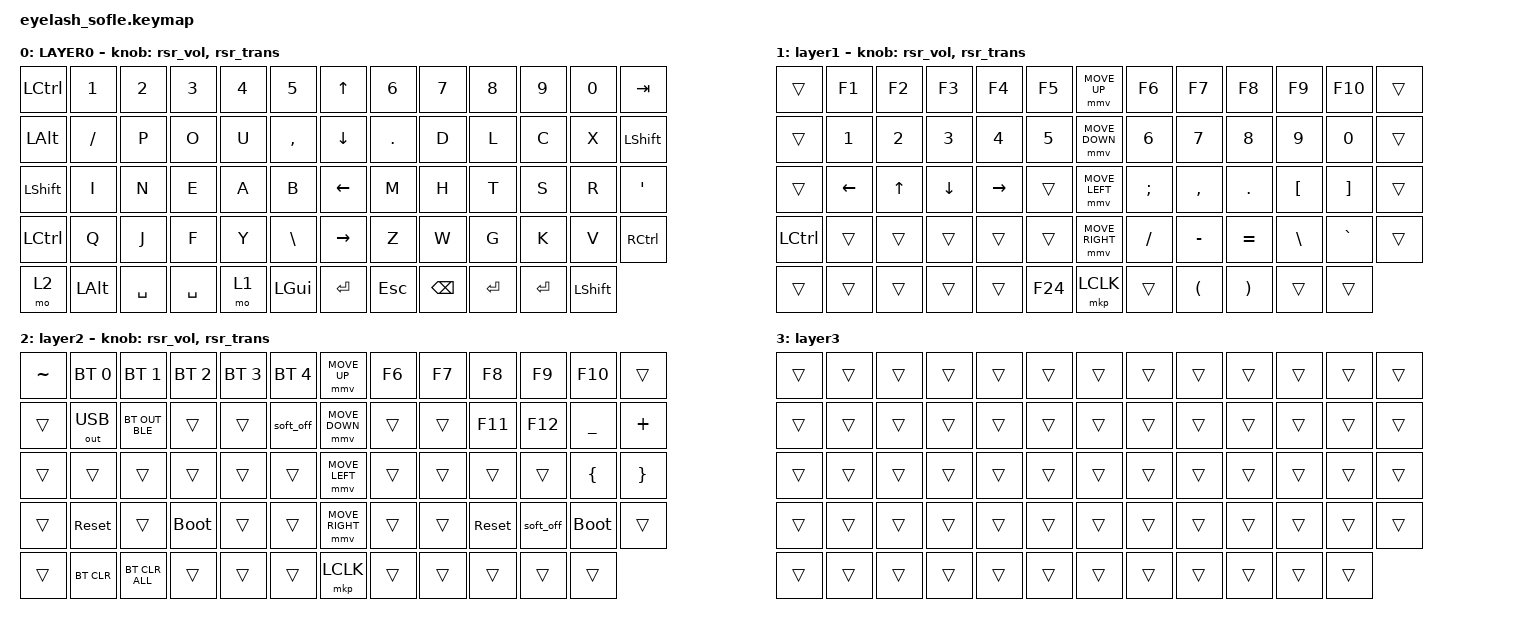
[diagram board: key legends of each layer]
#include <input/processors.dtsi>
#include <zephyr/dt-bindings/input/input-event-codes.h>
#include <behaviors.dtsi>
#include <dt-bindings/zmk/bt.h>
#include <dt-bindings/zmk/keys.h>
#include <dt-bindings/zmk/outputs.h>
#include <dt-bindings/zmk/pointing.h>
#include <dt-bindings/zmk/rgb.h>
#include <behaviors/runtime-sensor-rotate.dtsi>

/ {
    zip_scroll_scaler: zip_scroll_scaler {
        compatible = "zmk,input-processor-scaler";
        #input-processor-cells = <2>;
        type = <INPUT_EV_REL>;
        codes = <INPUT_REL_WHEEL INPUT_REL_HWHEEL>;
        track-remainders;
    };
};

&mmv_input_listener { input-processors = <&zip_xy_scaler 2 1>; };

&msc_input_listener { input-processors = <&zip_scroll_scaler 2 1>; };

&msc {
    acceleration-exponent = <0>;      // 0
    time-to-max-speed-ms = <0>;       // 300
    delay-ms = <0>;                   // 0
};

&mmv {
    time-to-max-speed-ms = <400>;
    acceleration-exponent = <1>;
};

&soft_off { hold-time-ms = <2000>; };

/ {
    behaviors {
        rsr_vol: rsr_vol {
            compatible = "zmk,behavior-runtime-sensor-rotate";
            #sensor-binding-cells = <0>;
            tap-ms = <5>;
            cw-binding = <&kp C_VOL_UP>;
            ccw-binding = <&kp C_VOL_DN>;
        };

        rsr_trans: rsr_trans {
            compatible = "zmk,behavior-runtime-sensor-rotate";
            #sensor-binding-cells = <0>;
            tap-ms = <0>;
        };
    };

    macros {
        shift_MB3: shift_MB3 {
            compatible = "zmk,behavior-macro";
            #binding-cells = <0>;
            bindings =
                <&macro_press>,
                <&kp LEFT_SHIFT>,
                <&macro_press>,
                <&mkp MB3>,
                <&macro_pause_for_release>,
                <&macro_release>,
                <&mkp MB3 &kp LEFT_SHIFT>;

            label = "SHIFT_MB3";
        };
    };

    combos {
        compatible = "zmk,combos";

        softoff {
            bindings = <&soft_off>;
            key-positions = <14 28 40>;
        };
    };

    keymap {
        compatible = "zmk,keymap";

        layer0 {
            bindings = <
&kp LCTRL      &kp N1         &kp N2        &kp N3        &kp N4      &kp N5         &kp UP_ARROW     &kp N6     &kp N7         &kp N8     &kp N9           &kp N0      &kp TAB
&kp LEFT_ALT   &kp FSLH       &kp P         &kp O         &kp U       &kp COMMA      &kp DOWN_ARROW   &kp DOT    &kp D          &kp L      &kp C            &kp X       &kp LSHFT
&kp LSHFT      &kp I          &kp N         &kp E         &kp A       &kp B          &kp LEFT_ARROW   &kp M      &kp H          &kp T      &kp S            &kp R       &kp APOS
&kp LCTRL      &kp Q          &kp J         &kp F         &kp Y       &kp BSLH       &kp RIGHT_ARROW  &kp Z      &kp W          &kp G      &kp K            &kp V       &kp RCTRL
&mo 2          &kp LEFT_ALT   &kp SPACE     &kp SPACE     &mo 1       &kp LEFT_GUI   &kp ENTER        &kp ESC    &kp BACKSPACE  &kp ENTER  &kp ENTER        &kp LSHFT
            >;

            sensor-bindings = <&rsr_vol &rsr_trans>;
            display-name = "LAYER0";
        };

        layer_1 {
            bindings = <
&trans      &kp F1      &kp F2      &kp F3      &kp F4      &kp F5      &mmv MOVE_UP     &kp F6     &kp F7      &kp F8      &kp F9               &kp F10            &trans
&trans      &kp N1      &kp N2      &kp N3      &kp N4      &kp N5      &mmv MOVE_DOWN   &kp N6     &kp N7      &kp N8      &kp N9               &kp N0             &trans
&trans      &kp LEFT    &kp UP      &kp DOWN    &kp RIGHT   &trans      &mmv MOVE_LEFT   &kp SEMI   &kp COMMA   &kp DOT     &kp LEFT_BRACKET     &kp RIGHT_BRACKET  &trans
&kp LCTRL   &trans      &trans      &trans      &trans      &trans      &mmv MOVE_RIGHT  &kp FSLH   &kp MINUS   &kp EQUAL   &kp BSLH             &kp GRAVE          &trans
&trans      &trans      &trans      &trans      &trans      &kp F24     &mkp LCLK        &trans     &kp LPAR    &kp RPAR    &trans               &trans
            >;

            display-name = "layer1";
            sensor-bindings = <&rsr_vol &rsr_trans>;

        };

        layer_2 {
             bindings = <
&kp TILDE  &bt BT_SEL 0  &bt BT_SEL 1    &bt BT_SEL 2  &bt BT_SEL 3  &bt BT_SEL 4    &mmv MOVE_UP     &kp F6  &kp F7  &kp F8      &kp F9     &kp F10      &trans
&trans     &out OUT_USB  &bt OUT_BLE     &trans        &trans        &soft_off       &mmv MOVE_DOWN   &trans  &trans  &kp F11     &kp F12    &kp UNDER    &kp PLUS
&trans     &trans        &trans          &trans        &trans        &trans          &mmv MOVE_LEFT   &trans  &trans  &trans      &trans     &kp LBRC     &kp RBRC
&trans     &sys_reset    &trans          &bootloader   &trans        &trans          &mmv MOVE_RIGHT  &trans  &trans  &sys_reset  &soft_off  &bootloader  &trans
&trans     &bt BT_CLR    &bt BT_CLR_ALL  &trans        &trans        &trans          &mkp LCLK        &trans  &trans  &trans      &trans     &trans
            >;

            display-name = "layer2";
            sensor-bindings = <&rsr_vol &rsr_trans>;
        };

        layer_3 {
            bindings = <
&trans  &trans  &trans  &trans  &trans  &trans    &trans  &trans  &trans  &trans  &trans  &trans  &trans
&trans  &trans  &trans  &trans  &trans  &trans    &trans  &trans  &trans  &trans  &trans  &trans  &trans
&trans  &trans  &trans  &trans  &trans  &trans    &trans  &trans  &trans  &trans  &trans  &trans  &trans
&trans  &trans  &trans  &trans  &trans  &trans    &trans  &trans  &trans  &trans  &trans  &trans  &trans
&trans  &trans  &trans  &trans  &trans  &trans    &trans  &trans  &trans  &trans  &trans  &trans
            >;
   display-name = "layer3";
        };
    };
};
